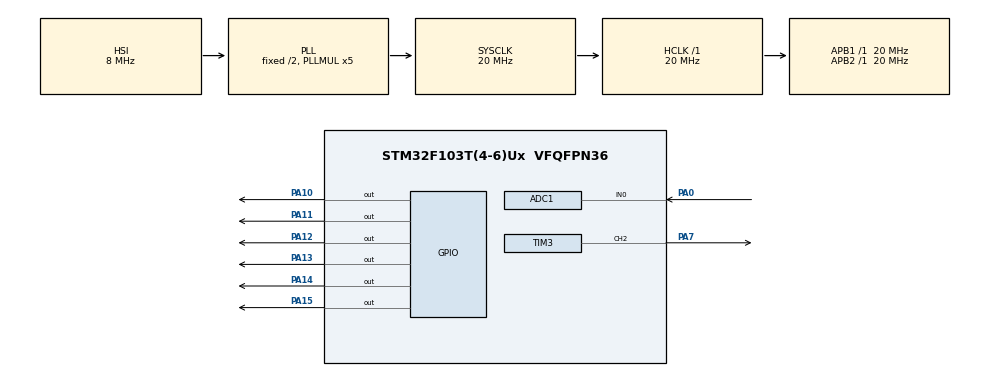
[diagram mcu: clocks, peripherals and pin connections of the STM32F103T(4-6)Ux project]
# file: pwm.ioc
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ADC1.Channel-1\#ChannelRegularConversion=ADC_CHANNEL_0
ADC1.NbrOfConversionFlag=1
ADC1.Rank-1\#ChannelRegularConversion=1
ADC1.SamplingTime-1\#ChannelRegularConversion=ADC_SAMPLETIME_13CYCLES_5
ADC1.master=1
Mcu.Family=STM32F1
Mcu.Name=STM32F103T(4-6)Ux
Mcu.Package=VFQFPN36
NVIC.PriorityGroup=NVIC_PRIORITYGROUP_4
PA0-WKUP.Signal=ADCx_IN0
PA10.Signal=GPIO_Output
PA11.Signal=GPIO_Output
PA12.Signal=GPIO_Output
PA13.Signal=GPIO_Output
PA14.Signal=GPIO_Output
PA15.Signal=GPIO_Output
PA7.Signal=S_TIM3_CH2
ProjectManager.HeapSize=0x200
ProjectManager.StackSize=0x400
ProjectManager.TargetToolchain=STM32CubeIDE
RCC.AHBFreq_Value=20000000
RCC.APB1Freq_Value=20000000
RCC.APB1TimFreq_Value=20000000
RCC.APB2Freq_Value=20000000
RCC.APB2TimFreq_Value=20000000
RCC.HCLKFreq_Value=20000000
RCC.PLLMUL=RCC_PLL_MUL5
RCC.SYSCLKFreq_VALUE=20000000
RCC.SYSCLKSource=RCC_SYSCLKSOURCE_PLLCLK
RCC.USBFreq_Value=20000000
SH.ADCx_IN0.0=ADC1_IN0,IN0
SH.S_TIM3_CH2.0=TIM3_CH2,PWM Generation2 CH2
TIM3.AutoReloadPreload=TIM_AUTORELOAD_PRELOAD_ENABLE
TIM3.Channel-PWM\ Generation2\ CH2=TIM_CHANNEL_2
TIM3.Period=1000-1
TIM3.Prescaler=200-1
VP_SYS_VS_ND.Mode=No_Debug
VP_TIM3_VS_ClockSourceINT.Mode=Internal
board=custom

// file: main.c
/* USER CODE BEGIN Header */
/**
  ******************************************************************************
  * @file           : main.c
  * @brief          : Main program body
  ******************************************************************************
  * @attention
  *
  * Copyright (c) 2025 STMicroelectronics.
  * All rights reserved.
  *
  * This software is licensed under terms that can be found in the LICENSE file
  * in the root directory of this software component.
  * If no LICENSE file comes with this software, it is provided AS-IS.
  *
  ******************************************************************************
  */
/* USER CODE END Header */
#include "main.h"

/* USER CODE BEGIN Includes */
#include "lcd.h"
#include "stdlib.h"
/* USER CODE END Includes */

ADC_HandleTypeDef hadc1;

TIM_HandleTypeDef htim3;

/* USER CODE BEGIN PV */
int pot_val = 0;
int pre_val=0;
int pwm_perc=0;
float dc=0;
char s[10];
/* USER CODE END PV */

void SystemClock_Config(void);
static void MX_GPIO_Init(void);
static void MX_ADC1_Init(void);
static void MX_TIM3_Init(void);

int main(void)
{

  /* MCU Configuration--------------------------------------------------------*/

  /* Reset of all peripherals, Initializes the Flash interface and the Systick. */
  HAL_Init();

  /* Configure the system clock */
  SystemClock_Config();

  /* Initialize all configured peripherals */
  MX_GPIO_Init();
  MX_ADC1_Init();
  MX_TIM3_Init();
  /* USER CODE BEGIN 2 */
  lcd_init();
  TIM3-> CCR2 = 100;
  HAL_TIM_PWM_Start(&htim3, TIM_CHANNEL_2);
  /* USER CODE END 2 */

  /* Infinite loop */
  while (1)
  {

    /* USER CODE BEGIN 3 */
	  HAL_ADC_Start(&hadc1);
	  HAL_ADC_PollForConversion(&hadc1, 20);
	  pot_val = HAL_ADC_GetValue(&hadc1);

	  dc = 10000*pot_val/1638;
	  lcd_clear();
	  itoa(dc, s,10);
	  lcd_puts(0,0,s);
	  TIM3-> CCR2 =dc ;
	  HAL_Delay(100);
	  //1638 max for 2 volts
	  //0 min
  }
  /* USER CODE END 3 */
}

void SystemClock_Config(void)
{
  RCC_OscInitTypeDef RCC_OscInitStruct = {0};
  RCC_ClkInitTypeDef RCC_ClkInitStruct = {0};
  RCC_PeriphCLKInitTypeDef PeriphClkInit = {0};

  /** Initializes the RCC Oscillators according to the specified parameters
  * in the RCC_OscInitTypeDef structure.
  */
  RCC_OscInitStruct.OscillatorType = RCC_OSCILLATORTYPE_HSI;
  RCC_OscInitStruct.HSIState = RCC_HSI_ON;
  RCC_OscInitStruct.HSICalibrationValue = RCC_HSICALIBRATION_DEFAULT;
  RCC_OscInitStruct.PLL.PLLState = RCC_PLL_ON;
  RCC_OscInitStruct.PLL.PLLSource = RCC_PLLSOURCE_HSI_DIV2;
  RCC_OscInitStruct.PLL.PLLMUL = RCC_PLL_MUL5;
  if (HAL_RCC_OscConfig(&RCC_OscInitStruct) != HAL_OK)
  {
    Error_Handler();
  }

  /** Initializes the CPU, AHB and APB buses clocks
  */
  RCC_ClkInitStruct.ClockType = RCC_CLOCKTYPE_HCLK|RCC_CLOCKTYPE_SYSCLK
                              |RCC_CLOCKTYPE_PCLK1|RCC_CLOCKTYPE_PCLK2;
  RCC_ClkInitStruct.SYSCLKSource = RCC_SYSCLKSOURCE_PLLCLK;
  RCC_ClkInitStruct.AHBCLKDivider = RCC_SYSCLK_DIV1;
  RCC_ClkInitStruct.APB1CLKDivider = RCC_HCLK_DIV1;
  RCC_ClkInitStruct.APB2CLKDivider = RCC_HCLK_DIV1;

  if (HAL_RCC_ClockConfig(&RCC_ClkInitStruct, FLASH_LATENCY_0) != HAL_OK)
  {
    Error_Handler();
  }
  PeriphClkInit.PeriphClockSelection = RCC_PERIPHCLK_ADC;
  PeriphClkInit.AdcClockSelection = RCC_ADCPCLK2_DIV2;
  if (HAL_RCCEx_PeriphCLKConfig(&PeriphClkInit) != HAL_OK)
  {
    Error_Handler();
  }
}

static void MX_ADC1_Init(void)
{

  ADC_ChannelConfTypeDef sConfig = {0};

  /** Common config
  */
  hadc1.Instance = ADC1;
  hadc1.Init.ScanConvMode = ADC_SCAN_DISABLE;
  hadc1.Init.ContinuousConvMode = DISABLE;
  hadc1.Init.DiscontinuousConvMode = DISABLE;
  hadc1.Init.ExternalTrigConv = ADC_SOFTWARE_START;
  hadc1.Init.DataAlign = ADC_DATAALIGN_RIGHT;
  hadc1.Init.NbrOfConversion = 1;
  if (HAL_ADC_Init(&hadc1) != HAL_OK)
  {
    Error_Handler();
  }

  /** Configure Regular Channel
  */
  sConfig.Channel = ADC_CHANNEL_0;
  sConfig.Rank = ADC_REGULAR_RANK_1;
  sConfig.SamplingTime = ADC_SAMPLETIME_13CYCLES_5;
  if (HAL_ADC_ConfigChannel(&hadc1, &sConfig) != HAL_OK)
  {
    Error_Handler();
  }

}

static void MX_TIM3_Init(void)
{

  TIM_ClockConfigTypeDef sClockSourceConfig = {0};
  TIM_MasterConfigTypeDef sMasterConfig = {0};
  TIM_OC_InitTypeDef sConfigOC = {0};

  htim3.Instance = TIM3;
  htim3.Init.Prescaler = 200-1;
  htim3.Init.CounterMode = TIM_COUNTERMODE_UP;
  htim3.Init.Period = 1000-1;
  htim3.Init.ClockDivision = TIM_CLOCKDIVISION_DIV1;
  htim3.Init.AutoReloadPreload = TIM_AUTORELOAD_PRELOAD_ENABLE;
  if (HAL_TIM_Base_Init(&htim3) != HAL_OK)
  {
    Error_Handler();
  }
  sClockSourceConfig.ClockSource = TIM_CLOCKSOURCE_INTERNAL;
  if (HAL_TIM_ConfigClockSource(&htim3, &sClockSourceConfig) != HAL_OK)
  {
    Error_Handler();
  }
  if (HAL_TIM_PWM_Init(&htim3) != HAL_OK)
  {
    Error_Handler();
  }
  sMasterConfig.MasterOutputTrigger = TIM_TRGO_RESET;
  sMasterConfig.MasterSlaveMode = TIM_MASTERSLAVEMODE_DISABLE;
  if (HAL_TIMEx_MasterConfigSynchronization(&htim3, &sMasterConfig) != HAL_OK)
  {
    Error_Handler();
  }
  sConfigOC.OCMode = TIM_OCMODE_PWM1;
  sConfigOC.Pulse = 0;
  sConfigOC.OCPolarity = TIM_OCPOLARITY_HIGH;
  sConfigOC.OCFastMode = TIM_OCFAST_DISABLE;
  if (HAL_TIM_PWM_ConfigChannel(&htim3, &sConfigOC, TIM_CHANNEL_2) != HAL_OK)
  {
    Error_Handler();
  }
  HAL_TIM_MspPostInit(&htim3);

}

static void MX_GPIO_Init(void)
{
  GPIO_InitTypeDef GPIO_InitStruct = {0};

  /* GPIO Ports Clock Enable */
  __HAL_RCC_GPIOA_CLK_ENABLE();

  /*Configure GPIO pin Output Level */
  HAL_GPIO_WritePin(GPIOA, GPIO_PIN_10|GPIO_PIN_11|GPIO_PIN_12|GPIO_PIN_13
                          |GPIO_PIN_14|GPIO_PIN_15, GPIO_PIN_RESET);

  /*Configure GPIO pins : PA10 PA11 PA12 PA13
                           PA14 PA15 */
  GPIO_InitStruct.Pin = GPIO_PIN_10|GPIO_PIN_11|GPIO_PIN_12|GPIO_PIN_13
                          |GPIO_PIN_14|GPIO_PIN_15;
  GPIO_InitStruct.Mode = GPIO_MODE_OUTPUT_PP;
  GPIO_InitStruct.Pull = GPIO_NOPULL;
  GPIO_InitStruct.Speed = GPIO_SPEED_FREQ_LOW;
  HAL_GPIO_Init(GPIOA, &GPIO_InitStruct);

}

void Error_Handler(void)
{
  __disable_irq();
  while (1)
  {
  }
}
